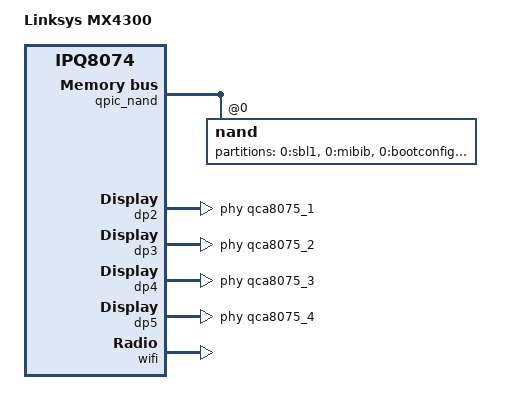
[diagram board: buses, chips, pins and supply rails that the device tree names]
// SPDX-License-Identifier: GPL-2.0-or-later OR MIT

/dts-v1/;

#include "ipq8174-mx4x00.dtsi"

/ {
	model = "Linksys MX4300";
	compatible = "linksys,mx4300", "qcom,ipq8074";

	chosen {
		/*
		In the kernel command line, replace the first occurence of bootargs-find-X with bootargs-replace-X.
		If bootargs-exact-match-X is set to "y", then replacement happens only if the kernel command line
		is identical to bootargs-find-X.
		*/
		bootargs-find-1 = "ubi.mtd=22,2048";
		bootargs-replace-1 = "ubi.mtd=22,4096";

		bootargs-find-2 = "ubi.mtd=24,2048";
		bootargs-replace-2 = "ubi.mtd=24,4096";
	};
};

&qpic_nand {
	status = "okay";

	/*
	 * Bootloader will find the NAND DT node by the compatible and
	 * then "fixup" it by adding the partitions from the SMEM table
	 * using the legacy bindings thus making it impossible for us
	 * to change the partition table or utilize NVMEM for calibration.
	 * So add a dummy partitions node that bootloader will populate
	 * and set it as disabled so the kernel ignores it instead of
	 * printing warnings due to the broken way bootloader adds the
	 * partitions.
	 */
	partitions {
		status = "disabled";
	};

	nand@0 {
		reg = <0>;
		/*
		 * Some devices use Micron NAND with with 8 bit ECC 
		 * other AMD/Spansion NAND with 4 bit ECC
		 *nand-ecc-strength = <4>;
		 *nand-ecc-step-size = <512>;
		 */
		nand-bus-width = <8>;

		partitions {
			compatible = "fixed-partitions";
			#address-cells = <1>;
			#size-cells = <1>;

			partition@0 {
				label = "0:sbl1";
				reg = <0x0 0x100000>;
				read-only;
			};

			partition@100000 {
				label = "0:mibib";
				reg = <0x100000 0x100000>;
				read-only;
			};

			partition@200000 {
				label = "0:bootconfig";
				reg = <0x200000 0x80000>;
				read-only;
			};

			partition@280000 {
				label = "0:bootconfig1";
				reg = <0x280000 0x80000>;
				read-only;
			};

			partition@300000 {
				label = "0:qsee";
				reg = <0x300000 0x300000>;
				read-only;
			};

			partition@600000 {
				label = "0:qsee_1";
				reg = <0x600000 0x300000>;
				read-only;
			};

			partition@900000 {
				label = "0:devcfg";
				reg = <0x900000 0x80000>;
				read-only;
			};

			partition@980000 {
				label = "0:devcfg_1";
				reg = <0x980000 0x80000>;
				read-only;
			};

			partition@a00000 {
				label = "0:apdp";
				reg = <0xa00000 0x80000>;
				read-only;
			};

			partition@a80000 {
				label = "0:apdp_1";
				reg = <0xa80000 0x80000>;
				read-only;
			};

			partition@b00000 {
				label = "0:rpm";
				reg = <0xb00000 0x80000>;
				read-only;
			};

			partition@b80000 {
				label = "0:rpm_1";
				reg = <0xb80000 0x80000>;
				read-only;
			};

			partition@c00000 {
				label = "0:cdt";
				reg = <0xc00000 0x80000>;
				read-only;
			};

			partition@c80000 {
				label = "0:cdt_1";
				reg = <0xc80000 0x80000>;
				read-only;
			};

			partition@d00000 {
				label = "0:appsblenv";
				reg = <0xd00000 0x80000>;
			};

			partition@d80000 {
				label = "0:appsbl";
				reg = <0xd80000 0x100000>;
				read-only;
			};

			partition@e80000 {
				label = "0:appsbl_1";
				reg = <0xe80000 0x100000>;
				read-only;
			};

			partition@f80000 {
				label = "0:art";
				reg = <0xf80000 0x80000>;
				read-only;
			};

			partition@1000000 {
				label = "0:ethphyfw";
				reg = <0x1000000 0x80000>;
				read-only;
			};

			partition@1080000 {
				label = "0:wififw";
				reg = <0x1080000 0x1900000>;
				read-only;
			};

			partition@2980000 {
				label = "devinfo";
				reg = <0x2980000 0x80000>;
				read-only;
			};

			partition@2a00000 {
				label = "tzcfg";
				reg = <0x2a00000 0x2000000>;
				read-only;
			};

			partition@4a00000 {
				label = "rootfs";
				reg = <0x4a00000 0x1db00000>;
			};

			partition@22500000 {
				label = "rootfs_1";
				reg = <0x22500000 0x1db00000>;
			};

		};
	};
};

&dp2 {
	status = "okay";
	phy-handle = <&qca8075_1>;
	label = "wan";
};

&dp3 {
	status = "okay";
	phy-handle = <&qca8075_2>;
	label = "lan3";
};

&dp4 {
	status = "okay";
	phy-handle = <&qca8075_3>;
	label = "lan2";
};

&dp5 {
	status = "okay";
	phy-handle = <&qca8075_4>;
	label = "lan1";
};

&wifi {
	status = "okay";

	qcom,ath11k-calibration-variant = "Linksys-MX4200v2";
};
